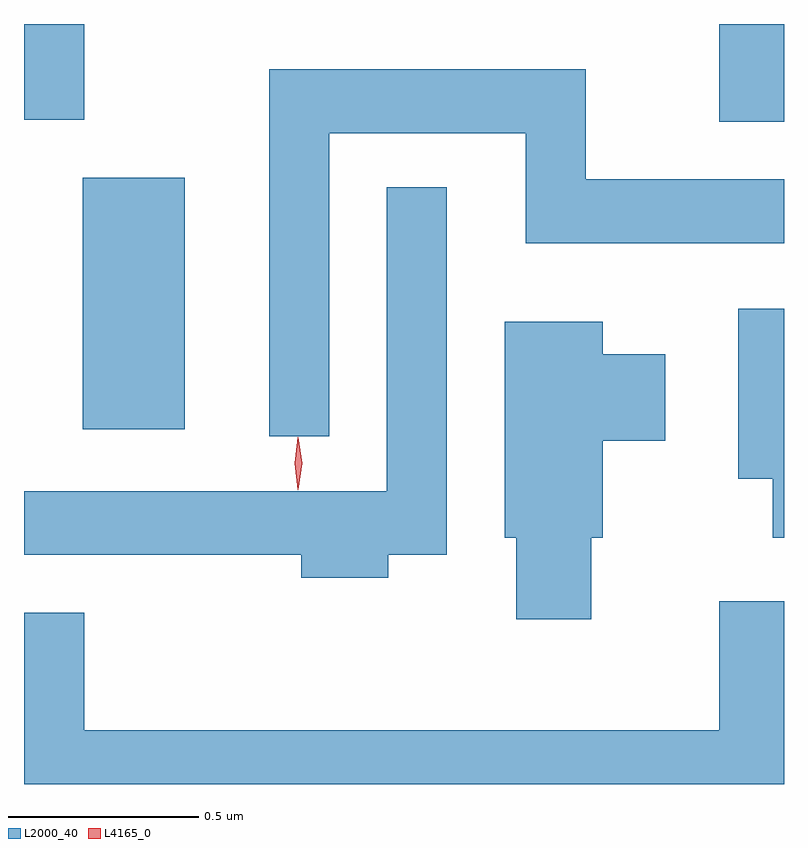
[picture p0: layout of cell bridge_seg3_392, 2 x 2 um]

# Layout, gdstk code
import gdstk
lib = gdstk.Library(unit=1e-6, precision=1e-09)
def R(c, l, rs):  # rectangles x0, y0, x1, y1
    for r in rs: c.add(gdstk.rectangle(r[:2], r[2:], *l))
def P(c, l, *ps):  # polygons
    for p in ps: c.add(gdstk.Polygon(p, *l))
L2000_40 = (2000, 40)
L4165_0 = (4165, 0)

bridge_seg3_392 = lib.new_cell('bridge_seg3_392')
R(bridge_seg3_392, L2000_40, [(550.856,1202.556,551.124,1203.219), (552.531,1203.366,552.701,1203.623), (550.701,1203.371,550.859,1203.623)])
P(bridge_seg3_392, L2000_40, [(551.504,1203.336),(552.021,1203.336),(552.021,1203.046),(552.701,1203.046),(552.701,1203.214),(552.179,1203.214),(552.179,1203.504),(551.346,1203.504),(551.346,1202.538),(551.504,1202.538)],
  [(551.659,1202.226),(551.814,1202.226),(551.814,1203.193),(551.656,1203.193),(551.656,1202.394),(550.701,1202.394),(550.701,1202.226),(551.431,1202.226),(551.431,1202.166),(551.659,1202.166)],
  [(552.701,1202.874),(552.581,1202.874),(552.581,1202.426),(552.671,1202.426),(552.671,1202.271),(552.701,1202.271)],
  [(552.194,1202.271),(552.224,1202.271),(552.224,1202.526),(552.389,1202.526),(552.389,1202.754),(552.224,1202.754),(552.224,1202.839),(551.966,1202.839),(551.966,1202.271),(551.996,1202.271),(551.996,1202.056),(552.194,1202.056)],
  [(552.701,1202.104),(552.531,1202.104),(552.531,1201.764),(550.859,1201.764),(550.859,1202.074),(550.701,1202.074),(550.701,1201.623),(552.701,1201.623)])
P(bridge_seg3_392, L4165_0, [(551.423,1202.397),(551.422,1202.398),(551.413,1202.467),(551.422,1202.536),(551.423,1202.536),(551.423,1202.536),(551.433,1202.467),(551.423,1202.398)])

lib.write_gds('bridge_seg3_392.gds')
